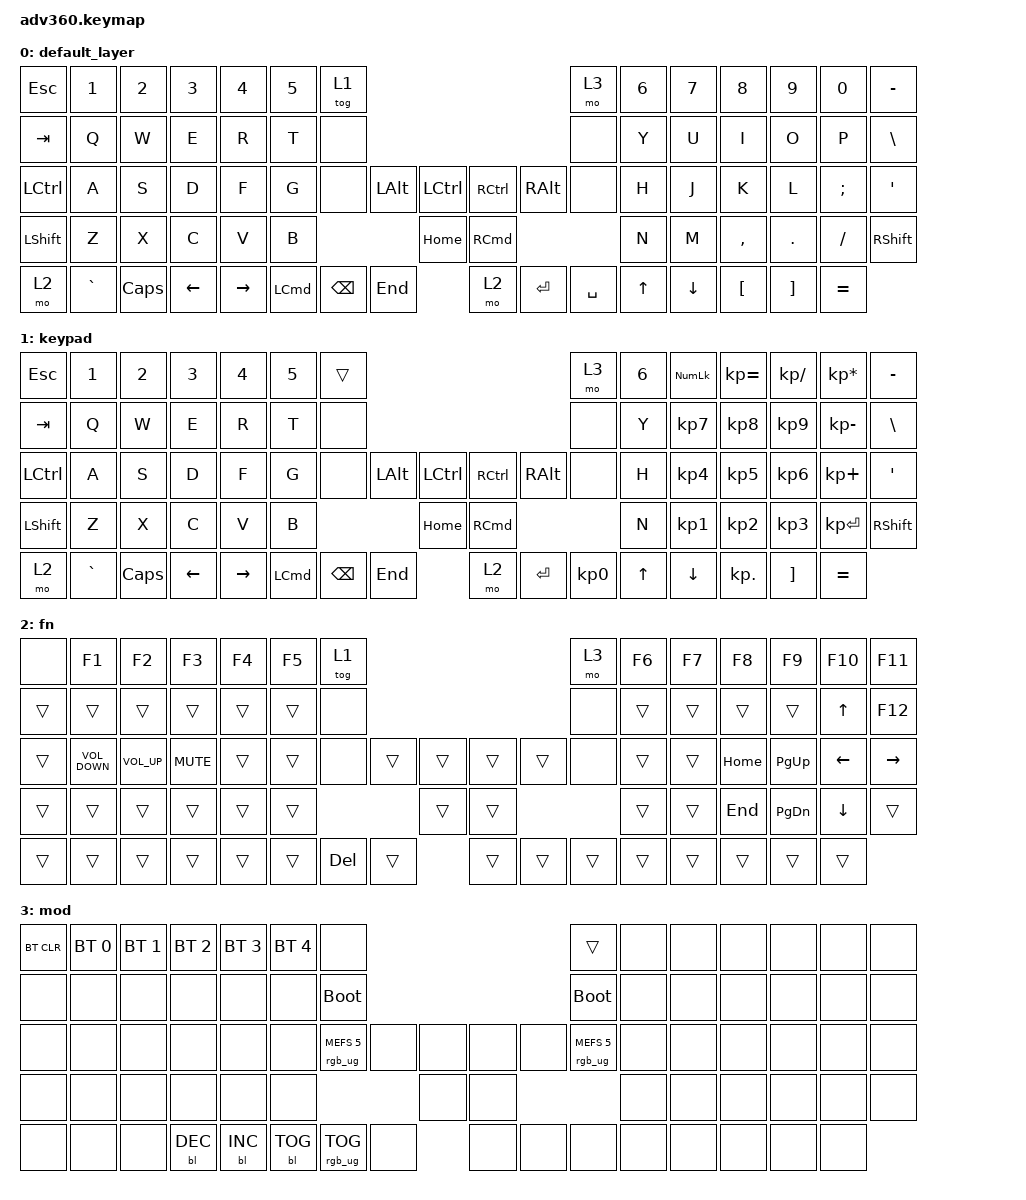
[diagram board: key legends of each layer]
#include <behaviors.dtsi>
#include <dt-bindings/zmk/keys.h>
#include <dt-bindings/zmk/bt.h>
#include <dt-bindings/zmk/rgb.h>
#include <dt-bindings/zmk/backlight.h>

/ {
    behaviors {
      #include "macros.dtsi"
      #include "version.dtsi"
      #ifndef VERSION_MACRO
      macro_ver: macro_ver {
        compatible = "zmk,behavior-macro";
        label = "macro_version";
        #binding-cells = <0>;
        bindings = <&kp RET>;
      };
      #endif

      hm: homerow_mods {
          compatible = "zmk,behavior-hold-tap";
          label = "HOMEROW_MODS";
          #binding-cells = <2>;
          tapping-term-ms = <200>;
          quick_tap_ms = <175>;
          flavor = "tap-preferred";
          bindings = <&kp>, <&kp>;
      };
    };

  keymap {
    compatible = "zmk,keymap";

    default_layer {
      bindings = <
        &kp ESC   &kp N1    &kp N2   &kp N3   &kp N4     &kp N5 &tog 1                                                           &mo 3 &kp N6 &kp N7 &kp N8    &kp N9   &kp N0   &kp MINUS
        &kp TAB   &kp Q     &kp W    &kp E    &kp R      &kp T  &none                                                            &none &kp Y  &kp U  &kp I     &kp O    &kp P    &kp BSLH
        &kp LCTRL &kp A     &kp S    &kp D    &kp F      &kp G  &none           &kp LALT  &kp LCTRL &kp RCTRL &kp RALT            &none &kp H  &kp J  &kp K     &kp L    &kp SEMI &kp SQT
        &kp LSHFT &kp Z     &kp X    &kp C    &kp V      &kp B                            &kp HOME  &kp RCMD                            &kp N  &kp M  &kp COMMA &kp DOT  &kp FSLH &kp RSHFT
        &mo 2     &kp GRAVE &kp CAPS &kp LEFT &kp RIGHT                &kp LCMD &kp BSPC  &kp END   &mo 2     &kp ENTER &kp SPACE       &kp UP &kp DOWN  &kp LBKT &kp RBKT &kp EQUAL
      >;
    };
    keypad {
      bindings = <
        &kp ESC   &kp N1    &kp N2   &kp N3   &kp N4     &kp N5 &trans                                                           &mo 3 &kp N6 &kp KP_NUM &kp KP_EQUAL &kp KP_DIVIDE &kp KP_MULTIPLY &kp MINUS
        &kp TAB   &kp Q     &kp W    &kp E    &kp R      &kp T  &none                                                            &none &kp Y  &kp KP_N7  &kp KP_N8    &kp KP_N9     &kp KP_MINUS    &kp BSLH
        &kp LCTRL &kp A     &kp S    &kp D    &kp F      &kp G  &none           &kp LALT  &kp LCTRL &kp RCTRL &kp RALT      &none &kp H  &kp KP_N4  &kp KP_N5    &kp KP_N6     &kp KP_PLUS     &kp SQT
        &kp LSHFT &kp Z     &kp X    &kp C    &kp V      &kp B                            &kp HOME &kp RCMD                         &kp N  &kp KP_N1  &kp KP_N2    &kp KP_N3     &kp KP_ENTER  &kp RSHFT
        &mo 2     &kp GRAVE &kp CAPS &kp LEFT &kp RIGHT                &kp LCMD &kp BSPC  &kp END  &mo 2      &kp ENTER &kp KP_N0   &kp UP     &kp DOWN     &kp KP_DOT    &kp RBKT  &kp EQUAL
      >;
    };
    fn {
      bindings = <
        &none  &kp F1 &kp F2 &kp F3 &kp F4 &kp F5 &tog 1                                           &mo 3 &kp F6 &kp F7 &kp F8 &kp F9 &kp F10 &kp F11
        &trans &trans &trans &trans &trans &trans  &none                                          &none &trans  &trans &trans &trans &kp UP  &kp F12
        &trans &kp C_VOLUME_DOWN  &kp C_VOL_UP &kp C_MUTE &trans &trans  &none  &trans  &trans   &trans &trans &none  &trans &trans &kp HOME &kp PG_UP  &kp LEFT  &kp RIGHT
        &trans &trans &trans &trans &trans &trans                      &trans &trans                  &trans  &trans &kp END  &kp PG_DN  &kp DOWN     &trans
        &trans &trans &trans &trans &trans               &trans  &kp DELETE  &trans &trans &trans &trans          &trans &trans &trans  &trans  &trans
      >;
    };
    mod {
      bindings = <
        &bt BT_CLR  &bt BT_SEL 0  &bt BT_SEL 1  &bt BT_SEL 2  &bt BT_SEL 3  &bt BT_SEL 4                             &none                                                                           &trans   &none   &none   &none   &none   &none   &none
        &none       &none         &none         &none         &none         &none                       &bootloader                                                                      &bootloader   &none   &none   &none   &none   &none   &none
        &none       &none         &none         &none         &none         &none            &rgb_ug RGB_MEFS_CMD 5            &none   &none                   &none   &none  &rgb_ug RGB_MEFS_CMD 5   &none   &none   &none   &none   &none   &none
        &none       &none         &none         &none         &none         &none                                                      &none                   &none                                   &none   &none   &none   &none   &none   &none
        &none       &none         &none    &bl BL_DEC    &bl BL_INC                                      &bl BL_TOG  &rgb_ug RGB_TOG   &none                   &none   &none                   &none           &none   &none   &none   &none   &none
      >;
    };
  };
};
